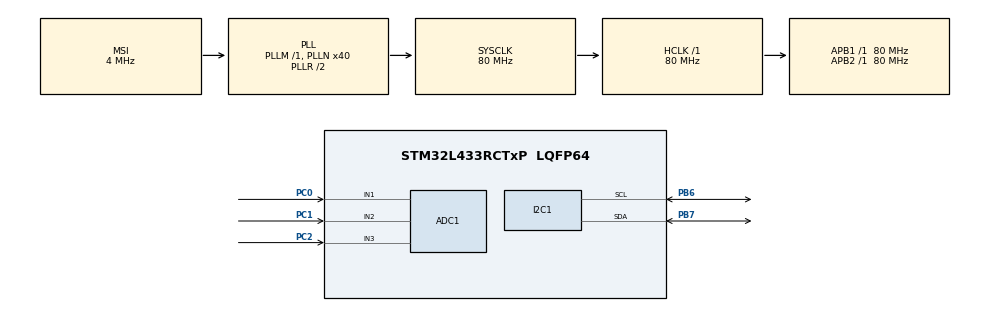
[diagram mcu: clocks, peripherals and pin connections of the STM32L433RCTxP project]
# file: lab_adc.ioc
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ADC1.Channel-0\#ChannelRegularConversion=ADC_CHANNEL_1
ADC1.Channel-1\#ChannelRegularConversion=ADC_CHANNEL_2
ADC1.Channel-2\#ChannelRegularConversion=ADC_CHANNEL_3
ADC1.ContinuousConvMode=ENABLE
ADC1.NbrOfConversion=3
ADC1.NbrOfConversionFlag=1
ADC1.OffsetNumber-0\#ChannelRegularConversion=ADC_OFFSET_NONE
ADC1.OffsetNumber-1\#ChannelRegularConversion=ADC_OFFSET_NONE
ADC1.OffsetNumber-2\#ChannelRegularConversion=ADC_OFFSET_NONE
ADC1.Rank-0\#ChannelRegularConversion=1
ADC1.Rank-1\#ChannelRegularConversion=2
ADC1.Rank-2\#ChannelRegularConversion=3
ADC1.SamplingTime-0\#ChannelRegularConversion=ADC_SAMPLETIME_640CYCLES_5
ADC1.SamplingTime-1\#ChannelRegularConversion=ADC_SAMPLETIME_640CYCLES_5
ADC1.SamplingTime-2\#ChannelRegularConversion=ADC_SAMPLETIME_640CYCLES_5
ADC1.master=1
I2C1.Timing=0x10D19CE4
Mcu.Family=STM32L4
Mcu.Name=STM32L433RCTxP
Mcu.Package=LQFP64
NVIC.ADC1_IRQn=true\:0\:0\:false\:false\:true\:true\:true\:true
NVIC.PriorityGroup=NVIC_PRIORITYGROUP_4
PB6.Mode=I2C
PB6.Signal=I2C1_SCL
PB7.Mode=I2C
PB7.Signal=I2C1_SDA
PC0.Signal=ADCx_IN1
PC1.Signal=ADCx_IN2
PC2.Signal=ADCx_IN3
ProjectManager.HeapSize=0x200
ProjectManager.StackSize=0x400
ProjectManager.TargetToolchain=STM32CubeIDE
RCC.ADCFreq_Value=32000000
RCC.AHBFreq_Value=80000000
RCC.APB1Freq_Value=80000000
RCC.APB1TimFreq_Value=80000000
RCC.APB2Freq_Value=80000000
RCC.APB2TimFreq_Value=80000000
RCC.CortexFreq_Value=80000000
RCC.HCLKFreq_Value=80000000
RCC.HSE_VALUE=8000000
RCC.HSI48_VALUE=48000000
RCC.HSI_VALUE=16000000
RCC.LSE_VALUE=32768
RCC.MSI_VALUE=4000000
RCC.PLLN=40
RCC.PLLSAI1N=16
RCC.SYSCLKFreq_VALUE=80000000
RCC.SYSCLKSource=RCC_SYSCLKSOURCE_PLLCLK
RCC.USBFreq_Value=32000000
RCC.VCOOutputFreq_Value=160000000
SH.ADCx_IN1.0=ADC1_IN1,IN1-Single-Ended
SH.ADCx_IN2.0=ADC1_IN2,IN2-Single-Ended
SH.ADCx_IN3.0=ADC1_IN3,IN3-Single-Ended
VP_TIM2_VS_ClockSourceINT.Mode=Internal
board=custom

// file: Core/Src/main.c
/* USER CODE BEGIN Header */
/**
  ******************************************************************************
  * @file           : main.c
  * @brief          : Main program body
  ******************************************************************************
  * @attention
  *
  * Copyright (c) 2026 STMicroelectronics.
  * All rights reserved.
  *
  * This software is licensed under terms that can be found in the LICENSE file
  * in the root directory of this software component.
  * If no LICENSE file comes with this software, it is provided AS-IS.
  *
  ******************************************************************************
  */
/* USER CODE END Header */
#include "main.h"

/* USER CODE BEGIN Includes */

#include "lcd.h"
#include <stdio.h>

/* USER CODE END Includes */

ADC_HandleTypeDef hadc1;

I2C_HandleTypeDef hi2c1;

TIM_HandleTypeDef htim2;

/* USER CODE BEGIN PV */

TextLCDType lcd;
char lcd_text[17];

#define ADC_BUF_SIZE 3

volatile uint16_t adc_buffer[ADC_BUF_SIZE];
volatile int adc_buf_ix = 0;
volatile int adc_ready = 0;

/* USER CODE END PV */

void SystemClock_Config(void);
static void MX_GPIO_Init(void);
static void MX_ADC1_Init(void);
static void MX_I2C1_Init(void);
static void MX_TIM2_Init(void);

/* USER CODE BEGIN 0 */

// Read one ADC value
uint16_t read_one_adc_value(ADC_HandleTypeDef *hadc)
{
    HAL_ADC_Start(hadc);
    HAL_ADC_PollForConversion(hadc, 100);
    uint32_t reading = HAL_ADC_GetValue(hadc);
    HAL_ADC_Stop(hadc);

    return (uint16_t)reading;
}

// Normalize ADC value to 0.0 - 1.0
float normalize_12bit(uint16_t x)
{
    return (float)x / 4095.0f;
}

// Normalize ADC value to -1.0 - +1.0
float normalize_12bit_posneg(uint16_t x)
{
    return ((float)x / 4095.0f) * 2.0f - 1.0f;
}

/* USER CODE END 0 */

int main(void)
{

  /* MCU Configuration--------------------------------------------------------*/

  /* Reset of all peripherals, Initializes the Flash interface and the Systick. */
  HAL_Init();

  /* Configure the system clock */
  SystemClock_Config();

  /* Initialize all configured peripherals */
  MX_GPIO_Init();
  MX_ADC1_Init();
  MX_I2C1_Init();
  MX_TIM2_Init();
  /* USER CODE BEGIN 2 */

  HAL_TIM_Base_Start(&htim2);
  TextLCD_Init(&lcd, &hi2c1, 0x4E);

  HAL_ADC_Start_IT(&hadc1);

  /* USER CODE END 2 */

  /* Infinite loop */
  /* USER CODE BEGIN WHILE */
  while (1)
  {

	  if (adc_ready)
	  {
	      adc_ready = 0;

	      uint16_t x_value = adc_buffer[0];
	      uint16_t y_value = adc_buffer[1];
	      uint16_t light_value = adc_buffer[2];
	      // Normalize and invert light reading
	      float light = 1.0f - normalize_12bit(light_value);

	      float x = normalize_12bit_posneg(x_value);
	      float y = normalize_12bit_posneg(y_value);

	      // Show joystick X and Y
	      snprintf(lcd_text, sizeof(lcd_text), "X:%+.2f Y:%+.2f", x, y);
	      TextLCD_Position(&lcd, 0, 0);
	      TextLCD_PutStr(&lcd, lcd_text);

	      // Show light sensor
	      snprintf(lcd_text, sizeof(lcd_text), "Light: %.3f     ", light);
	      TextLCD_Position(&lcd, 0, 1);
	      TextLCD_PutStr(&lcd, lcd_text);
	  }

	  HAL_Delay(200);

    /* USER CODE END WHILE */

  }
}

void SystemClock_Config(void)
{
  RCC_OscInitTypeDef RCC_OscInitStruct = {0};
  RCC_ClkInitTypeDef RCC_ClkInitStruct = {0};

  /** Configure the main internal regulator output voltage
  */
  if (HAL_PWREx_ControlVoltageScaling(PWR_REGULATOR_VOLTAGE_SCALE1) != HAL_OK)
  {
    Error_Handler();
  }

  /** Initializes the RCC Oscillators according to the specified parameters
  * in the RCC_OscInitTypeDef structure.
  */
  RCC_OscInitStruct.OscillatorType = RCC_OSCILLATORTYPE_MSI;
  RCC_OscInitStruct.MSIState = RCC_MSI_ON;
  RCC_OscInitStruct.MSICalibrationValue = 0;
  RCC_OscInitStruct.MSIClockRange = RCC_MSIRANGE_6;
  RCC_OscInitStruct.PLL.PLLState = RCC_PLL_ON;
  RCC_OscInitStruct.PLL.PLLSource = RCC_PLLSOURCE_MSI;
  RCC_OscInitStruct.PLL.PLLM = 1;
  RCC_OscInitStruct.PLL.PLLN = 40;
  RCC_OscInitStruct.PLL.PLLP = RCC_PLLP_DIV7;
  RCC_OscInitStruct.PLL.PLLQ = RCC_PLLQ_DIV2;
  RCC_OscInitStruct.PLL.PLLR = RCC_PLLR_DIV2;
  if (HAL_RCC_OscConfig(&RCC_OscInitStruct) != HAL_OK)
  {
    Error_Handler();
  }

  /** Initializes the CPU, AHB and APB buses clocks
  */
  RCC_ClkInitStruct.ClockType = RCC_CLOCKTYPE_HCLK|RCC_CLOCKTYPE_SYSCLK
                              |RCC_CLOCKTYPE_PCLK1|RCC_CLOCKTYPE_PCLK2;
  RCC_ClkInitStruct.SYSCLKSource = RCC_SYSCLKSOURCE_PLLCLK;
  RCC_ClkInitStruct.AHBCLKDivider = RCC_SYSCLK_DIV1;
  RCC_ClkInitStruct.APB1CLKDivider = RCC_HCLK_DIV1;
  RCC_ClkInitStruct.APB2CLKDivider = RCC_HCLK_DIV1;

  if (HAL_RCC_ClockConfig(&RCC_ClkInitStruct, FLASH_LATENCY_4) != HAL_OK)
  {
    Error_Handler();
  }
}

static void MX_ADC1_Init(void)
{

  ADC_ChannelConfTypeDef sConfig = {0};

  /** Common config
  */
  hadc1.Instance = ADC1;
  hadc1.Init.ClockPrescaler = ADC_CLOCK_ASYNC_DIV1;
  hadc1.Init.Resolution = ADC_RESOLUTION_12B;
  hadc1.Init.DataAlign = ADC_DATAALIGN_RIGHT;
  hadc1.Init.ScanConvMode = ADC_SCAN_ENABLE;
  hadc1.Init.EOCSelection = ADC_EOC_SINGLE_CONV;
  hadc1.Init.LowPowerAutoWait = DISABLE;
  hadc1.Init.ContinuousConvMode = ENABLE;
  hadc1.Init.NbrOfConversion = 3;
  hadc1.Init.DiscontinuousConvMode = DISABLE;
  hadc1.Init.ExternalTrigConv = ADC_SOFTWARE_START;
  hadc1.Init.ExternalTrigConvEdge = ADC_EXTERNALTRIGCONVEDGE_NONE;
  hadc1.Init.DMAContinuousRequests = DISABLE;
  hadc1.Init.Overrun = ADC_OVR_DATA_PRESERVED;
  hadc1.Init.OversamplingMode = DISABLE;
  if (HAL_ADC_Init(&hadc1) != HAL_OK)
  {
    Error_Handler();
  }

  /** Configure Regular Channel
  */
  sConfig.Channel = ADC_CHANNEL_1;
  sConfig.Rank = ADC_REGULAR_RANK_1;
  sConfig.SamplingTime = ADC_SAMPLETIME_640CYCLES_5;
  sConfig.SingleDiff = ADC_SINGLE_ENDED;
  sConfig.OffsetNumber = ADC_OFFSET_NONE;
  sConfig.Offset = 0;
  if (HAL_ADC_ConfigChannel(&hadc1, &sConfig) != HAL_OK)
  {
    Error_Handler();
  }

  /** Configure Regular Channel
  */
  sConfig.Channel = ADC_CHANNEL_2;
  sConfig.Rank = ADC_REGULAR_RANK_2;
  if (HAL_ADC_ConfigChannel(&hadc1, &sConfig) != HAL_OK)
  {
    Error_Handler();
  }

  /** Configure Regular Channel
  */
  sConfig.Channel = ADC_CHANNEL_3;
  sConfig.Rank = ADC_REGULAR_RANK_3;
  if (HAL_ADC_ConfigChannel(&hadc1, &sConfig) != HAL_OK)
  {
    Error_Handler();
  }

}

static void MX_I2C1_Init(void)
{

  hi2c1.Instance = I2C1;
  hi2c1.Init.Timing = 0x10D19CE4;
  hi2c1.Init.OwnAddress1 = 0;
  hi2c1.Init.AddressingMode = I2C_ADDRESSINGMODE_7BIT;
  hi2c1.Init.DualAddressMode = I2C_DUALADDRESS_DISABLE;
  hi2c1.Init.OwnAddress2 = 0;
  hi2c1.Init.OwnAddress2Masks = I2C_OA2_NOMASK;
  hi2c1.Init.GeneralCallMode = I2C_GENERALCALL_DISABLE;
  hi2c1.Init.NoStretchMode = I2C_NOSTRETCH_DISABLE;
  if (HAL_I2C_Init(&hi2c1) != HAL_OK)
  {
    Error_Handler();
  }

  /** Configure Analogue filter
  */
  if (HAL_I2CEx_ConfigAnalogFilter(&hi2c1, I2C_ANALOGFILTER_ENABLE) != HAL_OK)
  {
    Error_Handler();
  }

  /** Configure Digital filter
  */
  if (HAL_I2CEx_ConfigDigitalFilter(&hi2c1, 0) != HAL_OK)
  {
    Error_Handler();
  }

}

static void MX_TIM2_Init(void)
{

  TIM_ClockConfigTypeDef sClockSourceConfig = {0};
  TIM_MasterConfigTypeDef sMasterConfig = {0};

  htim2.Instance = TIM2;
  htim2.Init.Prescaler = 79;
  htim2.Init.CounterMode = TIM_COUNTERMODE_UP;
  htim2.Init.Period = 4294967295;
  htim2.Init.ClockDivision = TIM_CLOCKDIVISION_DIV1;
  htim2.Init.AutoReloadPreload = TIM_AUTORELOAD_PRELOAD_DISABLE;
  if (HAL_TIM_Base_Init(&htim2) != HAL_OK)
  {
    Error_Handler();
  }
  sClockSourceConfig.ClockSource = TIM_CLOCKSOURCE_INTERNAL;
  if (HAL_TIM_ConfigClockSource(&htim2, &sClockSourceConfig) != HAL_OK)
  {
    Error_Handler();
  }
  sMasterConfig.MasterOutputTrigger = TIM_TRGO_RESET;
  sMasterConfig.MasterSlaveMode = TIM_MASTERSLAVEMODE_DISABLE;
  if (HAL_TIMEx_MasterConfigSynchronization(&htim2, &sMasterConfig) != HAL_OK)
  {
    Error_Handler();
  }

}

static void MX_GPIO_Init(void)
{

  /* GPIO Ports Clock Enable */
  __HAL_RCC_GPIOC_CLK_ENABLE();
  __HAL_RCC_GPIOB_CLK_ENABLE();

}

/* USER CODE BEGIN 4 */

/* Called when an ADC conversion is complete
void HAL_ADC_ConvCpltCallback(ADC_HandleTypeDef *hadc)
{
    if (hadc->Instance == ADC1)
    {
        adc_buffer[0] = (uint16_t)HAL_ADC_GetValue(hadc);
        adc_ready = 1;
    }
} */

// Store X and Y values from ADC
void HAL_ADC_ConvCpltCallback(ADC_HandleTypeDef *hadc)
{
    if (hadc->Instance == ADC1)
    {
        adc_buffer[adc_buf_ix] = (uint16_t)HAL_ADC_GetValue(hadc);
        adc_buf_ix++;

        if (adc_buf_ix >= ADC_BUF_SIZE)
        {
            adc_buf_ix = 0;
            adc_ready = 1;
        }
    }
}

/* USER CODE END 4 */

void Error_Handler(void)
{
  __disable_irq();
  while (1)
  {
  }
}
